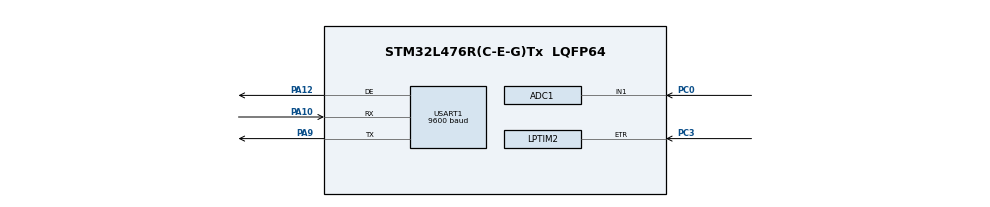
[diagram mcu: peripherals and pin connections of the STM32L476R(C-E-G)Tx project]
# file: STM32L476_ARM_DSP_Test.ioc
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ADC1.Channel-0\#ChannelRegularConversion=ADC_CHANNEL_1
ADC1.ExternalTrigConv=ADC_EXTERNALTRIG_T3_TRGO
ADC1.NbrOfConversionFlag=1
ADC1.OffsetNumber-0\#ChannelRegularConversion=ADC_OFFSET_NONE
ADC1.OversamplingMode=ENABLE
ADC1.Rank-0\#ChannelRegularConversion=1
ADC1.Ratio=ADC_OVERSAMPLING_RATIO_16
ADC1.SamplingTime-0\#ChannelRegularConversion=ADC_SAMPLETIME_2CYCLES_5
ADC1.master=1
CRC.InputDataFormat=CRC_INPUTDATA_FORMAT_WORDS
Dma.ADC1.0.Direction=DMA_PERIPH_TO_MEMORY
Dma.ADC1.0.Instance=DMA1_Channel1
Dma.ADC1.0.MemDataAlignment=DMA_MDATAALIGN_HALFWORD
Dma.ADC1.0.MemInc=DMA_MINC_ENABLE
Dma.ADC1.0.Mode=DMA_NORMAL
Dma.ADC1.0.PeriphDataAlignment=DMA_PDATAALIGN_HALFWORD
Dma.ADC1.0.PeriphInc=DMA_PINC_DISABLE
Dma.ADC1.0.Priority=DMA_PRIORITY_LOW
Dma.Request0=ADC1
IWDG.Prescaler=IWDG_PRESCALER_256
LPTIM2.TriggerActiveEdge=LPTIM_ACTIVEEDGE_RISING_FALLING
Mcu.Family=STM32L4
Mcu.Name=STM32L476R(C-E-G)Tx
Mcu.Package=LQFP64
NVIC.DMA1_Channel1_IRQn=true\:0\:0\:false\:false\:true\:false\:true\:true
NVIC.LPTIM2_IRQn=true\:0\:0\:false\:false\:true\:true\:true\:true
NVIC.PriorityGroup=NVIC_PRIORITYGROUP_4
PA10.Mode=Asynchronous
PA10.Signal=USART1_RX
PA12.Mode=Hardware Flow Control (RS485)
PA12.Signal=USART1_DE
PA13\ (JTMS-SWDIO).Mode=Serial_Wire
PA13\ (JTMS-SWDIO).Signal=SYS_JTMS-SWDIO
PA14\ (JTCK-SWCLK).Mode=Serial_Wire
PA14\ (JTCK-SWCLK).Signal=SYS_JTCK-SWCLK
PA9.Mode=Asynchronous
PA9.Signal=USART1_TX
PC0.Signal=ADCx_IN1
PC3.Mode=ExternalTrigger
PC3.Signal=LPTIM2_ETR
ProjectManager.HeapSize=0x200
ProjectManager.StackSize=0x400
ProjectManager.TargetToolchain=STM32CubeIDE
RCC.ADCCLockSelection=RCC_ADCCLKSOURCE_SYSCLK
RCC.ADCFreq_Value=4000000
RCC.HSE_VALUE=8000000
RCC.HSI_VALUE=16000000
RCC.LSE_VALUE=32768
RCC.MSI_VALUE=4000000
RCC.USBFreq_Value=16000000
RCC.VCOOutputFreq_Value=32000000
SH.ADCx_IN1.0=ADC1_IN1,IN1-Single-Ended
STMicroelectronics.X-CUBE-ALGOBUILD.1.3.0.LibraryCcDSPOoLibraryJjDSPOoLibrary=true
TIM3.Period=(100-1)
TIM3.Prescaler=(16-1)
TIM3.TIM_MasterOutputTrigger=TIM_TRGO_UPDATE
USART1.BaudRate=9600
USART1.VirtualMode-Asynchronous=VM_ASYNC
USART1.VirtualMode-Hardware\ Flow\ Control\ (RS485)=VM_ASYNC
VP_CRC_VS_CRC.Mode=CRC_Activate
VP_IWDG_VS_IWDG.Mode=IWDG_Activate
VP_LPTIM2_VS_LPTIM_counterModeInternalClock.Mode=Counts__internal_clock_event_00
VP_STMicroelectronics.X-CUBE-ALGOBUILD_VS_DSPOoLibraryJjLibrary_1.3.0_1.3.0.Mode=DSPOoLibraryJjLibrary
VP_TIM3_VS_ClockSourceINT.Mode=Internal
board=custom

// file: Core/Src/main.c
/* USER CODE BEGIN Header */
/**
  ******************************************************************************
  * @file           : main.c
  * @brief          : Main program body
  ******************************************************************************
  * @attention
  *
  * Copyright (c) 2023 STMicroelectronics.
  * All rights reserved.
  *
  * This software is licensed under terms that can be found in the LICENSE file
  * in the root directory of this software component.
  * If no LICENSE file comes with this software, it is provided AS-IS.
  *
  ******************************************************************************
  */
/* USER CODE END Header */
#include "main.h"
#include "adc.h"
#include "crc.h"
#include "dma.h"
#include "iwdg.h"
#include "lptim.h"
#include "tim.h"
#include "usart.h"
#include "gpio.h"

/* USER CODE BEGIN Includes */
#include "arm_math.h"
/* USER CODE END Includes */

/* USER CODE BEGIN PD */
#define ADC_SIZE	256
#define FFT_SIZE	512
/* USER CODE END PD */

/* USER CODE BEGIN PV */
uint16_t adcData[ADC_SIZE];

arm_rfft_fast_instance_f32 rfft_fast_instance;
/* USER CODE END PV */

void SystemClock_Config(void);
/* USER CODE BEGIN PFP */
void enter_sleep_mode(void);
void enter_ready_mode(void);
void adc_get_sample(void);
/* USER CODE END PFP */

int main(void)
{

  /* MCU Configuration--------------------------------------------------------*/

  /* Reset of all peripherals, Initializes the Flash interface and the Systick. */
  HAL_Init();

  /* Configure the system clock */
  SystemClock_Config();

  /* Initialize all configured peripherals */
  MX_GPIO_Init();
  MX_LPTIM2_Init();
  MX_ADC1_Init();
  MX_DMA_Init();
  MX_USART1_UART_Init();
  MX_TIM3_Init();
  MX_IWDG_Init();
  MX_CRC_Init();
  /* USER CODE BEGIN 2 */
  HAL_ADCEx_Calibration_Start(&hadc1, ADC_SINGLE_ENDED);

  arm_rfft_fast_init_f32(&rfft_fast_instance, FFT_SIZE);

  float32_t inputSignal[ADC_SIZE];
  float32_t complexFFT[FFT_SIZE];
  float32_t powerFFT[FFT_SIZE / 2];

  uint32_t uartTxData[3];

  /*МК переводится в режим сна. МК будет выведен из режима сна внешним прерыванием:
  импульсом длительность ~500 мкс на выводе LPTIM2_ETR*/
  enter_sleep_mode();

  /* USER CODE END 2 */

  /* Infinite loop */
  /* USER CODE BEGIN WHILE */
  while (1)
  {
	  // После пробуждение МК запускает цикл измерений
	  adc_get_sample();

	  // На основании полученных измерений строится спект сигнала

	  for(uint32_t i = 0; i < ADC_SIZE; i++)
	  {
		  inputSignal[i] =  adcData[i];
	  }

	  arm_rfft_fast_f32(&rfft_fast_instance, inputSignal, complexFFT, 0);
	  arm_cmplx_mag_f32(complexFFT, powerFFT, FFT_SIZE / 2);

	  // В полученном спектре вычисляется наибольшая гармоника и ее амплитуда
	  float32_t maxValue = 0;
	  uint32_t maxIndex = 0;
	  arm_max_f32(&powerFFT[1], FFT_SIZE / 2 - 1, &maxValue, &maxIndex);
	  maxIndex += 1;

	  uartTxData[0] = (uint32_t)maxValue;
	  uartTxData[1] = (uint32_t)maxIndex;
	  uartTxData[3]	= (uint32_t)HAL_CRC_Calculate(&hcrc, uartTxData, 2);

	  // Результат вычисления отсылается по проводному интерфейсу
	  HAL_UART_Transmit(&huart1, (uint8_t*)&uartTxData, sizeof(uartTxData) / sizeof(uartTxData[0]), 10);

	  // МК переводится в режим сна
	  enter_sleep_mode();

    /* USER CODE END WHILE */

  }
}

void SystemClock_Config(void)
{
  LL_FLASH_SetLatency(LL_FLASH_LATENCY_0);
  while(LL_FLASH_GetLatency()!= LL_FLASH_LATENCY_0)
  {
  }
  LL_PWR_SetRegulVoltageScaling(LL_PWR_REGU_VOLTAGE_SCALE1);
  LL_RCC_LSI_Enable();

   /* Wait till LSI is ready */
  while(LL_RCC_LSI_IsReady() != 1)
  {

  }
  LL_RCC_MSI_Enable();

   /* Wait till MSI is ready */
  while(LL_RCC_MSI_IsReady() != 1)
  {

  }
  LL_RCC_MSI_EnableRangeSelection();
  LL_RCC_MSI_SetRange(LL_RCC_MSIRANGE_6);
  LL_RCC_MSI_SetCalibTrimming(0);
  LL_RCC_SetSysClkSource(LL_RCC_SYS_CLKSOURCE_MSI);

   /* Wait till System clock is ready */
  while(LL_RCC_GetSysClkSource() != LL_RCC_SYS_CLKSOURCE_STATUS_MSI)
  {

  }
  LL_RCC_SetAHBPrescaler(LL_RCC_SYSCLK_DIV_1);
  LL_RCC_SetAPB1Prescaler(LL_RCC_APB1_DIV_1);
  LL_RCC_SetAPB2Prescaler(LL_RCC_APB2_DIV_1);
  LL_SetSystemCoreClock(4000000);

   /* Update the time base */
  if (HAL_InitTick (TICK_INT_PRIORITY) != HAL_OK)
  {
    Error_Handler();
  }
}

/* USER CODE BEGIN 4 */
void HAL_LPTIM_CompareMatchCallback(LPTIM_HandleTypeDef *hlptim)
{
	if(hlptim == &hlptim2)
	{
		HAL_IWDG_Refresh(&hiwdg);
		enter_ready_mode();
		HAL_LPTIM_TimeOut_Stop_IT(&hlptim2);
		HAL_PWR_DisableSleepOnExit();
	}
}

void HAL_ADCEx_EndOfSamplingCallback(ADC_HandleTypeDef *hadc)
{
	if(hadc == &hadc1)
	{
		HAL_IWDG_Refresh(&hiwdg);
		HAL_PWR_DisableSleepOnExit();
	}
}

void enter_sleep_mode(void)
{
	LL_RCC_MSI_Enable();
	/* Wait till MSI is ready */
	while(LL_RCC_MSI_IsReady() != 1)
	{
		__NOP();
	}
	LL_RCC_MSI_EnableRangeSelection();
	LL_RCC_MSI_SetRange(LL_RCC_MSIRANGE_3);
	LL_RCC_MSI_SetCalibTrimming(0);
	LL_RCC_SetSysClkSource(LL_RCC_SYS_CLKSOURCE_MSI);

	/* Wait till System clock is ready */
	while(LL_RCC_GetSysClkSource() != LL_RCC_SYS_CLKSOURCE_STATUS_MSI)
	{
		__NOP();
	}
	LL_SetSystemCoreClock(800000);

	/* Update the time base */
	if (HAL_InitTick (TICK_INT_PRIORITY) != HAL_OK)
	{
		Error_Handler();
	}

	HAL_LPTIM_TimeOut_Start_IT(&hlptim2, 0xFFFF - 1, 96 - 1);

	HAL_SuspendTick();
	HAL_PWR_EnterSLEEPMode(PWR_LOWPOWERREGULATOR_ON, PWR_SLEEPENTRY_WFI);
}

void enter_ready_mode(void)
{
	LL_RCC_MSI_Enable();
	/* Wait till MSI is ready */
	while(LL_RCC_MSI_IsReady() != 1)
	{
		__NOP();
	}
	LL_RCC_MSI_EnableRangeSelection();
	LL_RCC_MSI_SetRange(LL_RCC_MSIRANGE_8);
	LL_RCC_MSI_SetCalibTrimming(0);
	LL_RCC_SetSysClkSource(LL_RCC_SYS_CLKSOURCE_MSI);

	/* Wait till System clock is ready */
	while(LL_RCC_GetSysClkSource() != LL_RCC_SYS_CLKSOURCE_STATUS_MSI)
	{
		__NOP();
	}
	LL_SetSystemCoreClock(16000000);

	/* Update the time base */
	if (HAL_InitTick (TICK_INT_PRIORITY) != HAL_OK)
	{
		Error_Handler();
	}

}

void adc_get_sample(void)
{
	extern TIM_HandleTypeDef htim3;
	extern DMA_HandleTypeDef hdma_adc1;

	HAL_ADC_Start_DMA(&hadc1, (uint32_t*)adcData, sizeof(adcData) / sizeof(adcData[0]));
	__HAL_DMA_DISABLE_IT(&hdma_adc1, DMA_IT_HT);
	HAL_SuspendTick();

	if(HAL_TIM_Base_Start(&htim3) != HAL_OK)
	{
		Error_Handler();
	}

	HAL_PWR_EnterSLEEPMode(PWR_LOWPOWERREGULATOR_ON, PWR_SLEEPENTRY_WFI);

	while(hadc1.State != HAL_ADC_STATE_READY)
	{
		__NOP();
		__NOP();
	}

	HAL_TIM_Base_Stop(&htim3);
	HAL_ADC_Stop_DMA(&hadc1);
	HAL_ResumeTick();
}

/* USER CODE END 4 */

void Error_Handler(void)
{
  __disable_irq();
  while (1)
  {
  }
}
